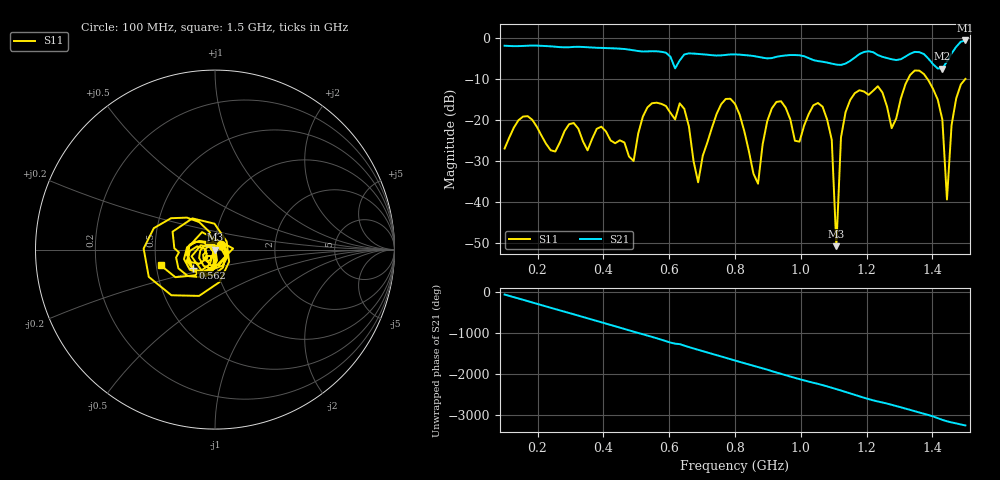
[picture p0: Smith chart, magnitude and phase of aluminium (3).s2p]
! NanoVNA-App
! Date: 2025-09-25 14:55:18
! Start: 100MHz Stop: 1,5GHz Points: 101
! S-Parameter data: F S11 S21 S12 S22
# Hz S RI R 50
!  Frequency  S11_Real  S11_Imag  S21_Real  S21_Imag  S12_Real  S12_Imag  S22_Real  S22_Imag
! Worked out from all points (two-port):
!   101 points, 100 MHz to 1.5 GHz, reference 50 ohm
!   highest |S21| = -0.64 dB at 1.5 GHz (marker M1); lowest = -7.5 dB at 1.43 GHz (marker M2)
!   |S21| within 3 dB of the highest: start of sweep to 590.4 MHz; 1.187 GHz to 1.223 GHz (35.59 MHz wide, 2.95 % of centre) (the widest 2 of 4)
!   lowest |S11| = -50.8 dB at 1.108 GHz (marker M3), VSWR 1.01, Z = 50.3 - j0.0946 ohm
!   |S11| at or under -10 dB: start of sweep to 1.326 GHz; 1.384 GHz to end of sweep
!   S12 and S22 are empty: the file has one direction only
!   S11 on the Smith chart (normalised r, x): 100 MHz: 1.07, +0.06; 562 MHz: 0.76, -0.16; 1.5 GHz: 0.53, -0.10
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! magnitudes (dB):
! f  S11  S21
! 100 MHz  -27.0  -1.9
! 338 MHz  -25.2  -2.2
! 492 MHz  -30.1  -3.1
! 562 MHz  -15.8  -3.3
! 576 MHz  -16.1  -3.4
! 646 MHz  -17.3  -4.0
! 688 MHz  -35.3  -3.9
! 800 MHz  -16.1  -4.0
! 870 MHz  -35.6  -4.6
! 912 MHz  -17.2  -4.9
! 996 MHz  -25.3  -4.3
! 1.038 GHz  -16.5  -5.4
! 1.094 GHz  -24.9  -6.3
! 1.108 GHz  -50.8  -6.5
! 1.122 GHz  -24.3  -6.6
! 1.15 GHz  -15.2  -5.6
! 1.276 GHz  -22.0  -5.2
! 1.346 GHz  -8.0  -3.4
! 1.43 GHz  -20.0  -7.5
! 1.444 GHz  -39.5  -5.8
! 1.458 GHz  -21.3  -3.8
! 1.5 GHz  -10.0  -0.6
